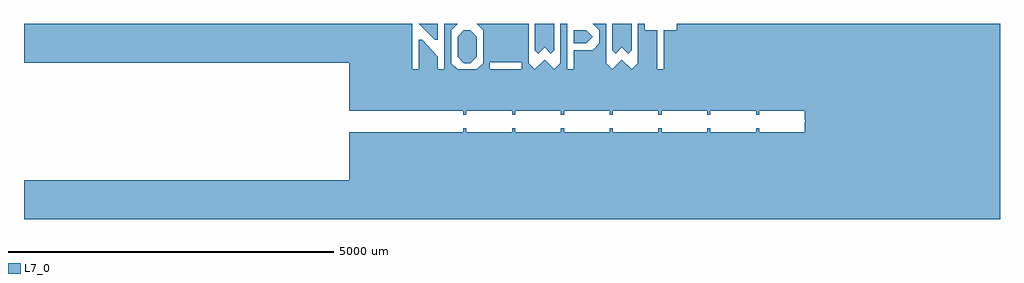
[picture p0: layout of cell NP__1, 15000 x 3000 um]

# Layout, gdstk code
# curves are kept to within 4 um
import gdstk
lib = gdstk.Library(unit=1e-6, precision=5e-09)
def P(c, l, *ps):  # polygons
    for p in ps: c.add(gdstk.Polygon(p, *l))
L7_0 = (7, 0)

np__1 = lib.new_cell('NP__1')
P(np__1, L7_0, [(7160,2300),(7055,2398),(7055,2902),(6957,3000),(7755,3000),(7755,2398),(7853,2300),(8000,2447),(8147,2300),(8245,2398),(8245,3000),(8350,3000),(8350,2300),(8448,2300),(8448,2594),(8742,2594),(8840,2706),(8840,2902),(8742,3000),(8945,3000),(8945,2398),(9043,2300),(9190,2447),(9337,2300),(9435,2398),(9435,3000),(9540,3000),(9540,2902),(9736,2902),(9736,2300),(9834,2300),(9834,2902),(10030,2902),(10030,3000),(15000,3000),(15000,0),(0,0),(0,600),(5000,600),(5000,1335),(6750,1335),(6750,1395),(6800,1395),(6800,1335),(7500,1335),(7500,1395),(7550,1395),(7550,1335),(8250,1335),(8250,1395),(8300,1395),(8300,1335),(9000,1335),(9000,1395),(9050,1395),(9050,1335),(9750,1335),(9750,1395),(9800,1395),(9800,1335),(10500,1335),(10500,1395),(10550,1395),(10550,1335),(11250,1335),(11250,1395),(11300,1395),(11300,1335),(12000,1335),(12002,1481.34),(12010.58,1530),(12002,1530),(12000,1665),(11300,1665),(11300,1605),(11250,1605),(11250,1665),(10550,1665),(10550,1605),(10500,1605),(10500,1665),(9800,1665),(9800,1605),(9750,1605),(9750,1665),(9050,1665),(9050,1605),(9000,1605),(9000,1665),(8300,1665),(8300,1605),(8250,1605),(8250,1665),(7550,1665),(7550,1605),(7500,1605),(7500,1665),(6800,1665),(6800,1605),(6750,1605),(6750,1665),(5000,1665),(5000,2400),(0,2400),(0,3000),(5970,3000),(5970,2300),(6068,2300),(6068,2755),(6117,2755),(6362,2496),(6362,2300),(6460,2300),(6460,3000),(6663,3000),(6565,2902),(6565,2398),(6663,2300),(6957,2300),(7055,2398),(7160,2300),(7650,2300),(7650,2412),(7160,2412)],
  [(6068,3000),(6362,3000),(6362,2755),(6313,2755)],
  [(7853,3000),(8147,3000),(8147,2594),(8098,2545),(8000,2643),(7902,2545),(7853,2594)],
  [(9043,3000),(9337,3000),(9337,2594),(9288,2545),(9190,2643),(9092,2545),(9043,2594)],
  [(6761,2398),(6663,2496),(6663,2804),(6761,2902),(6859,2902),(6957,2804),(6957,2496),(6859,2398)],
  [(8448,2706),(8448,2902),(8644,2902),(8742,2804),(8644,2706)])

lib.write_gds('NP__1.gds')
